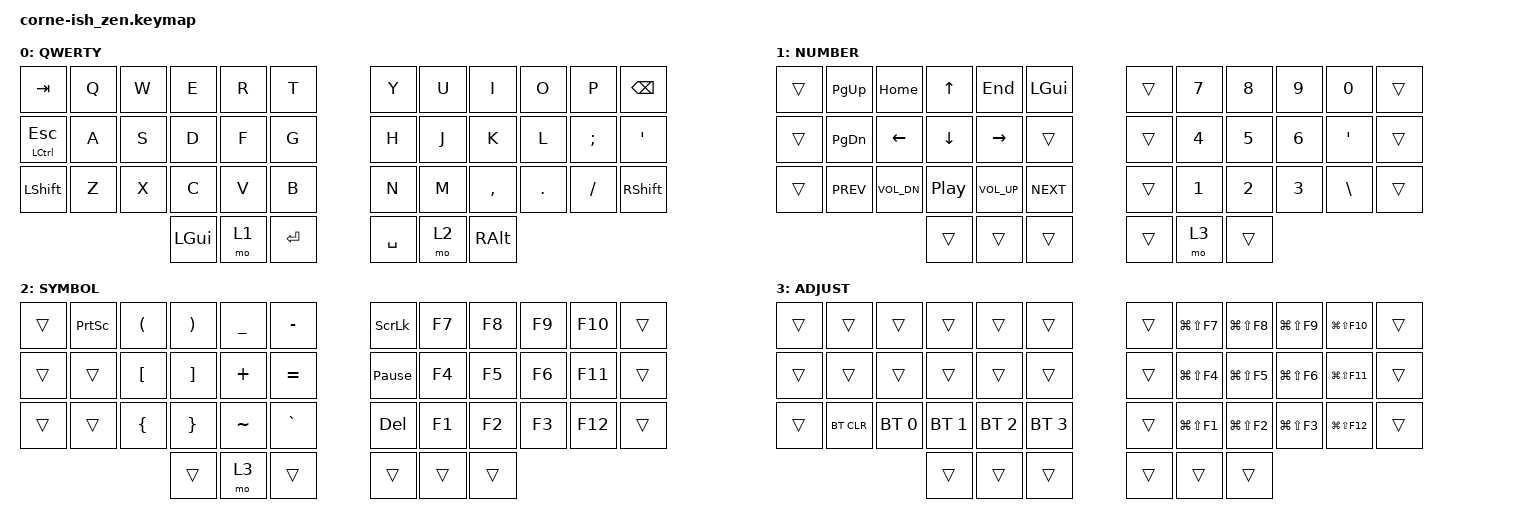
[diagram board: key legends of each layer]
/*
*
* Copyright (c) 2021 Darryl deHaan
* SPDX-License-Identifier: MIT
*
*/

#include <behaviors.dtsi>
#include <dt-bindings/zmk/keys.h>
#include <dt-bindings/zmk/bt.h>

#define QWERTY 0
#define NUMBER 1
#define SYMBOL 2
#define ADJUST 3

/ {
        keymap {
                compatible = "zmk,keymap";

                default_layer {
                        label = "QWERTY";
                        bindings = <
   &kp TAB					&kp Q					&kp W					&kp E					&kp R					&kp T					&kp Y					&kp U					&kp I					&kp O					&kp P					&kp BSPC
   &mt LCTRL ESC			&kp A					&kp S					&kp D					&kp F					&kp G					&kp H					&kp J					&kp K					&kp L					&kp SEMI				&kp SQT
   &kp LSHFT				&kp Z					&kp X					&kp C					&kp V					&kp B					&kp N					&kp M					&kp COMMA				&kp DOT					&kp FSLH				&kp RSHFT
   																			&kp LGUI				&mo 1					&kp RET					&kp SPACE				&mo 2					&kp RALT 
                        >;
                };
                lower_layer {
                        label = "NUMBER";
                        bindings = <
   &trans					&kp PG_UP				&kp HOME				&kp UP					&kp END					&kp LGUI				&trans					&kp N7					&kp N8					&kp N9					&kp N0					&trans
   &trans					&kp PG_DN				&kp LEFT				&kp DOWN				&kp RIGHT				&trans					&trans					&kp N4					&kp N5					&kp N6					&kp SQT					&trans
   &trans					&kp C_PREV				&kp C_VOL_DN			&kp C_PP				&kp C_VOL_UP			&kp C_NEXT				&trans					&kp N1					&kp N2					&kp N3					&kp BSLH				&trans
						   													&trans					&trans					&trans					&trans					&mo 3					&trans
                        >;

                };

                raise_layer {
                        label = "SYMBOL";
                        bindings = <
   &trans					&kp PSCRN				&kp LPAR				&kp RPAR				&kp UNDER				&kp MINUS				&kp SLCK				&kp F7					&kp F8					&kp F9					&kp F10					&trans
   &trans					&trans					&kp LBKT				&kp RBKT				&kp PLUS				&kp EQUAL				&kp PAUSE_BREAK			&kp F4					&kp F5					&kp F6					&kp F11					&trans
   &trans					&trans					&kp LBRC				&kp RBRC				&kp TILDE				&kp GRAVE				&kp DEL					&kp F1					&kp F2					&kp F3					&kp F12					&trans
   																			&trans					&mo 3					&trans					&trans					&trans					&trans
                        >;

                };

                adjst_layer {
                        label = "ADJUST";
                        bindings = <
   &trans					&trans					&trans					&trans					&trans					&trans					&trans					&kp LG(LS(F7))			&kp LG(LS(F8))			&kp LG(LS(F9))			&kp LG(LS(F10))			&trans
   &trans					&trans					&trans					&trans					&trans					&trans					&trans					&kp LG(LS(F4))			&kp LG(LS(F5))			&kp LG(LS(F6))			&kp LG(LS(F11))			&trans
   &trans					&bt BT_CLR				&bt BT_SEL 0			&bt BT_SEL 1			&bt BT_SEL 2			&bt BT_SEL 3			&trans					&kp LG(LS(F1))			&kp LG(LS(F2))			&kp LG(LS(F3))			&kp LG(LS(F12))			&trans
						   													&trans					&trans					&trans					&trans					&trans					&trans
                        >;
                };

					
        };
};
